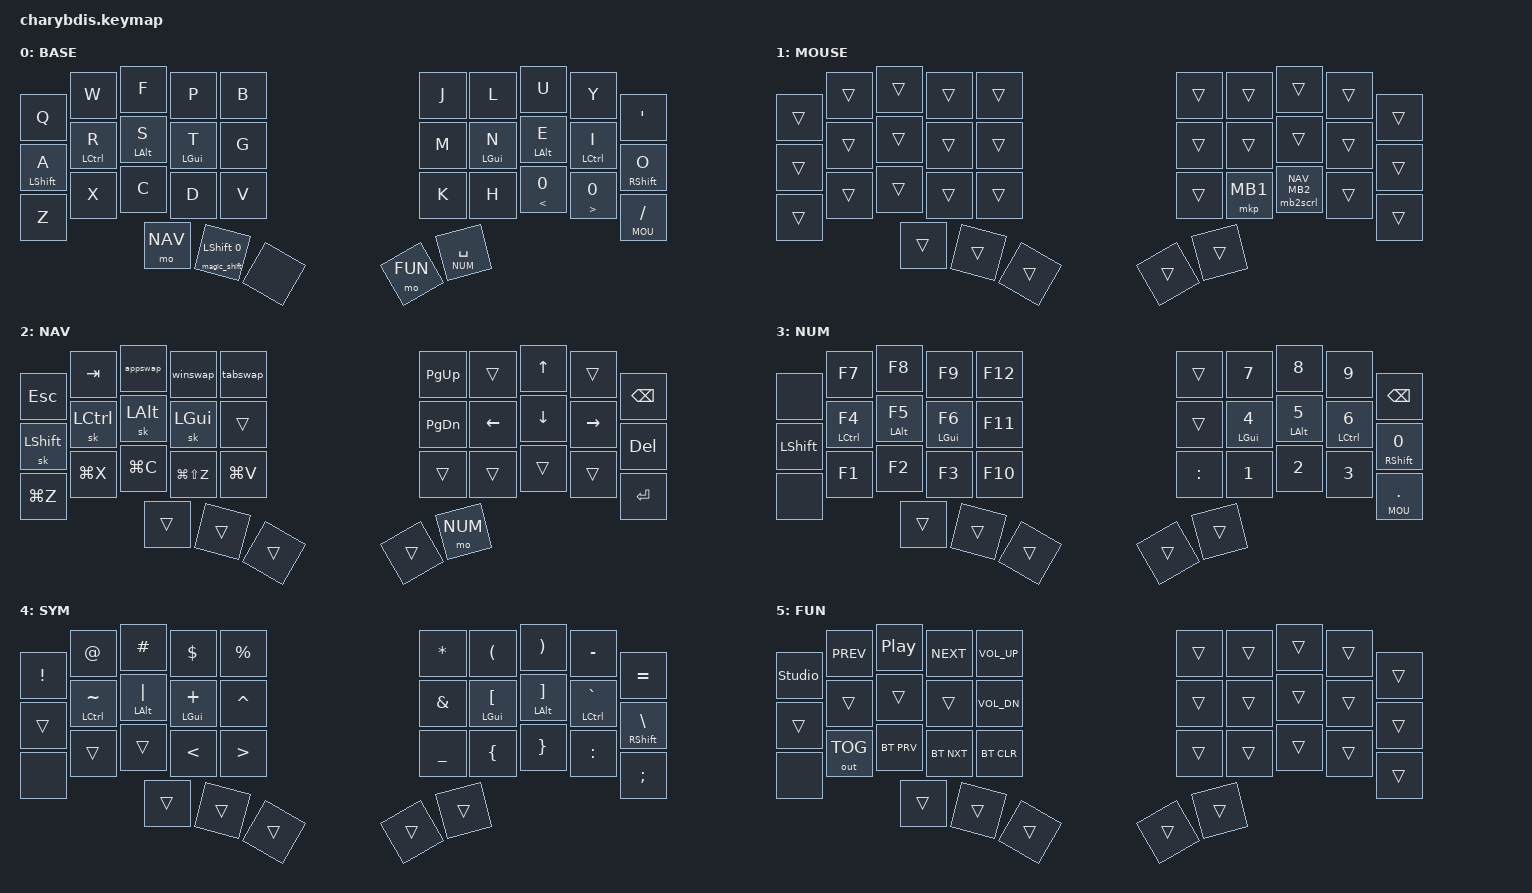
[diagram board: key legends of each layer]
/*                KEY POSITIONS
  ╭─────────────────────╮ ╭─────────────────────╮
  │ LT4 LT3 LT2 LT1 LT0 │ │ RT0 RT1 RT2 RT3 RT4 │
  │ LM4 LM3 LM2 LM1 LM0 │ │ RM0 RM1 RM2 RM3 RM4 │
  │ LB4 LB3 LB2 LB1 LB0 │ │ RB0 RB1 RB2 RB3 RB4 │
  ╰───────╮ LH2 LH1 LH0 │ │ RH0 RH1 ╭───────────╯
          ╰─────────────╯ ╰─────────╯            */
#include <behaviors.dtsi>

#include <dt-bindings/zmk/keys.h>
#include <dt-bindings/zmk/bt.h>
#include <dt-bindings/zmk/mouse.h>
#include <dt-bindings/zmk/outputs.h>
#include <input/processors.dtsi>
#include <dt-bindings/zmk/input_transform.h>

#include "zmk-helpers/helper.h"
#include "zmk-helpers/key-labels/36.h"

// constants
#define undo  &kp LG(Z)
#define redo  &kp LG(LS(Z))
#define cut   &kp LG(X)
#define copy  &kp LG(C)
#define paste &kp LG(V)
#define XXX   &none
#define ___   &trans
#define QUICK_TAP_MS 175

#define BASE 0
#define MOU  1
#define NAV  2
#define NUM  3
#define SYM  4
#define FUN  5

&sk {
    quick-release;
    release-after-ms = <900>;
};

&sl { // Allow sticky mods to chord across sticky layers.
    ignore-modifiers;
};

&lt {
    flavor = "balanced";
    tapping-term-ms = <200>;
    quick-tap-ms = <QUICK_TAP_MS>;
};

/* Homerow mods */

#define KEYS_L LT0 LT1 LT2 LT3 LT4 LM0 LM1 LM2 LM3 LM4 LB0 LB1 LB2 LB3 LB4
#define KEYS_R RT0 RT1 RT2 RT3 RT4 RM0 RM1 RM2 RM3 RM4 RB0     RB2 RB3 RB4
#define THUMBS LH2 LH1 LH0 RH0 RH1

#define MAKE_HRM(NAME, HOLD, TAP, TRIGGER_POS)                                 \
  ZMK_HOLD_TAP(NAME, bindings = <HOLD>, <TAP>; flavor = "balanced";            \
               tapping-term-ms = <280>; quick-tap-ms = <QUICK_TAP_MS>;         \
               require-prior-idle-ms = <150>; hold-trigger-on-release;         \
               hold-trigger-key-positions = <TRIGGER_POS>;)

MAKE_HRM(hml, &kp, &kp, KEYS_R THUMBS) // Left-hand HRMs.
MAKE_HRM(hmr, &kp, &kp, KEYS_L THUMBS) // Right-hand HRMs.

// Hack: Make HRM combos tap-only (cf, ZMK issue #544).
#define ZMK_COMBO_8(NAME, TAP, POS, LAYERS, COMBO_MS, IDLE_MS, HOLD, SIDE)     \
  MAKE_HRM(hm_combo_##NAME, &kp, TAP, SIDE THUMBS)                             \
  ZMK_COMBO_6(NAME, &hm_combo_##NAME HOLD 0, POS, LAYERS, COMBO_MS, IDLE_MS)

/* Nav cluster */

// Trigger tap-action on all interrupts.
#define MT_CORE                                                                \
  flavor = "tap-preferred";                                                    \
  tapping-term-ms = <220>;                                                     \
  quick-tap-ms = <220>;                                                        \
  hold-trigger-key-positions = <0>;

&mt { MT_CORE };

/* Magic-shift & auto-layers */

// Tap: repeat after alpha, else sticky-shift |
// Shift + tap/ double-tap: caps-word | Hold: shift.
#define MAGIC_SHIFT &magic_shift LSHFT 0
ZMK_HOLD_TAP(magic_shift, bindings = <&kp>, <&magic_shift_tap>; flavor = "balanced"; tapping-term-ms = <200>; quick-tap-ms = <QUICK_TAP_MS>;)
ZMK_MOD_MORPH(magic_shift_tap, bindings = <&sk LSHFT>, <&caps_word>; mods = <(MOD_LSFT)>;)
&caps_word { // Mods deactivate caps-word, requires PR #1451. [TODO: rebase]
  /delete-property/ ignore-modifiers;
};

// Trackball
// MB3 when tapping both mouse keys at the same time
ZMK_COMBO(mou_mb3,    &mkp MB3,  RB1 RB2, MOU)
// Mouse scroll when holding MB2
ZMK_HOLD_TAP(mb2scrl, bindings = <&mo>, <&mkp>; flavor = "balanced"; tapping-term-ms = <200>; quick-tap-ms = <QUICK_TAP_MS>;)

/* Custom behaviors */

// Swapper settings for all window contexts
ZMK_TRI_STATE(appswap, bindings = <&kt_on LGUI>, <&kp TAB>, <&kt_off LGUI>; ignored-key-positions = <LT2 RT2 RM1 RM2 RM3>;)
ZMK_TRI_STATE(winswap, bindings = <&kt_on LGUI>, <&kp GRAVE>, <&kt_off LGUI>; ignored-key-positions = <LT1 RT2 RM1 RM2 RM3>;)
ZMK_TRI_STATE(tabswap, bindings = <&kt_on LCTRL>, <&kp TAB>, <&kt_off LCTRL>; ignored-key-positions = <LT0 RT2 RM1 RM2 RM3>;)

// Define mod-morph with a *single* mod trigger for less repetition.
#define SIMPLE_MORPH(NAME, MOD, BINDING1, BINDING2)                            \
  ZMK_MOD_MORPH(NAME, mods = <(MOD_L##MOD | MOD_R##MOD)>;                      \
                bindings = <BINDING1>, <BINDING2>;)

// Tap: space | Hold: num layer.
#define NUM_KEYS LH2 RT1 RT2 RT3 RM1 RM2 RM3 RM4 RB0 RB1 RB2 RB3 RB4
#define LT_SPACE &lt_spc NUM SPACE
ZMK_HOLD_TAP(lt_spc,
        bindings = <&mo>, <&kp>;                                               \
        flavor = "balanced";                                                   \
        tapping-term-ms = <200>;                                               \
        hold-trigger-on-release; hold-trigger-key-positions = <NUM_KEYS>;      \
        quick-tap-ms = <200>;)

// Macro to prevent holding and triggering multiple taps
ZMK_MACRO_ONE_PARAM(tap_macro, bindings = <&macro_param_1to1>, <&macro_tap &kp MACRO_PLACEHOLDER>; wait-ms = <0>; tap-ms = <5>;)

// Tap: Comma | Shift + tap: ; | Hold: <.
#define COMMA_LT &mt_comma LT 0
ZMK_HOLD_TAP(mt_comma, bindings = <&tap_macro>, <&comma_morph>; flavor = "tap-preferred"; tapping-term-ms = <170>; quick-tap-ms = <QUICK_TAP_MS>; require-prior-idle-ms = <150>;)
SIMPLE_MORPH(comma_morph, SFT, &kp COMMA, &kp SEMI)

// Tap: Dot | Shift + tap: : | Hold: >.
#define DOT_GT &mt_dot GT 0
ZMK_HOLD_TAP(mt_dot, bindings = <&tap_macro>, <&dot_morph>; flavor = "tap-preferred"; tapping-term-ms = <170>; quick-tap-ms = <QUICK_TAP_MS>; require-prior-idle-ms = <150>;)
SIMPLE_MORPH(dot_morph, SFT, &kp DOT, &kp COLON)

/* Keymap */

// Enable SYM layer if NAV and NUM are active
ZMK_CONDITIONAL_LAYER(fun_layer, NAV NUM, SYM)

/ {
    trackball_listener {
        compatible = "zmk,input-listener";
        device = <&trackball_split>;

        scroll {
            layers = <NAV>;
            input-processors = <&zip_xy_scaler 1 20>, <&zip_xy_to_scroll_mapper>, <&zip_scroll_transform (INPUT_TRANSFORM_Y_INVERT)>;
        };
    };

    behaviors {
        kt_on: key_toggle_on_only {
            compatible = "zmk,behavior-key-toggle";
            #binding-cells = <1>;
            display-name = "Key Toggle On";
            toggle-mode = "on";
        };
        kt_off: key_toggle_off_only {
            compatible = "zmk,behavior-key-toggle";
            #binding-cells = <1>;
            display-name = "Key Toggle Off";
            toggle-mode = "off";
        };
    };

    keymap {
                compatible = "zmk,keymap";
// ▄▄▄▄▄▄▄▄▄▄▄▄▄▄▄▄▄▄▄▄▄▄▄▄▄▄▄▄▄▄▄▄▄▄▄▄▄▄▄▄▄▄▄▄▄▄▄▄▄▄▄▄▄▄▄▄▄▄▄▄▄▄▄▄▄▄▄▄▄▄▄▄▄▄▄▄▄▄▄▄▄▄▄▄▄▄▄▄▄▄▄▄▄▄▄▄▄▄▄▄▄▄▄▄▄▄▄▄▄▄▄▄▄▄▄▄▄▄▄▄▄▄▄▄▄▄▄▄▄▄▄▄▄▄▄▄▄▄▄▄▄▄▄▄▄▄▄▄▄

            BASE {
    display-name = "BASE";
    // ┏━━━━━━━━━━━━━━━━━━━━━━━━━━━━━━━━━━━━━━━┓
    // ┃          0 - Base                     ┃
    // ┗━━━━━━━━━━━━━━━━━━━━━━━━━━━━━━━━━━━━━━━┛
    //             ┏━━━━━━━━━━━┳━━━━━━━━━━━┳━━━━━━━━━━━┳━━━━━━━━━━━┳━━━━━━━━━━━┓   ┏━━━━━━━━━━━┳━━━━━━━━━━━┳━━━━━━━━━━━┳━━━━━━━━━━━┳━━━━━━━━━━━┓
    //             ┃     Q     ┃     W     ┃     F     ┃     P     ┃     B     ┃   ┃     J     ┃     L     ┃     U     ┃     Y     ┃     '     ┃
    //             ┣━━━━━━━━━━━╋━━━━━━━━━━━╋━━━━━━━━━━━╋━━━━━━━━━━━╋━━━━━━━━━━━┫   ┣━━━━━━━━━━━╋━━━━━━━━━━━╋━━━━━━━━━━━╋━━━━━━━━━━━╋━━━━━━━━━━━┫
    //             ┃     A     ┃     R     ┃     S     ┃     T     ┃     G     ┃   ┃     M     ┃     N     ┃     E     ┃     I     ┃     O     ┃
    //             ┣━━━━━━━━━━━╋━━━━━━━━━━━╋━━━━━━━━━━━╋━━━━━━━━━━━╋━━━━━━━━━━━┫   ┣━━━━━━━━━━━╋━━━━━━━━━━━╋━━━━━━━━━━━╋━━━━━━━━━━━╋━━━━━━━━━━━┫
    //             ┃     Z     ┃     X     ┃     C     ┃     D     ┃     V     ┃   ┃     K     ┃     H     ┃     ,     ┃     .     ┃  / / MOU  ┃
    //             ┗━━━━━━━━━━━┻━━━━━━━━━━━╋━━━━━━━━━━━╋━━━━━━━━━━━╋━━━━━━━━━━━┫   ┣━━━━━━━━━━━╋━━━━━━━━━━━╋━━━━━━━━━━━┻━━━━━━━━━━━┻━━━━━━━━━━━┛
    //                                     ┃    NAV    ┃ MAGISHIFT ┃           ┃   ┃    FUN    ┃ SPACE/NUM ┃
    //                                     ┗━━━━━━━━━━━┻━━━━━━━━━━━┻━━━━━━━━━━━┛   ┗━━━━━━━━━━━┻━━━━━━━━━━━┛
     bindings = <
    // ╷           ╷           ╷           ╷           ╷           ╷           ╷   ╷           ╷           ╷           ╷           ╷           ╷           ╷
                    &kp Q       &kp W       &kp F       &kp P       &kp B           &kp J       &kp L       &kp U       &kp Y       &kp SQT
                    &hml LSHIFT A &hml LCTRL R &hml LALT S &hml LGUI T &kp G        &kp M       &hmr LGUI N &hmr LALT E &hmr LCTRL I &hmr RSHIFT O
                    &kp Z       &kp X       &kp C       &kp D       &kp V           &kp K       &kp H       COMMA_LT    DOT_GT      &lt MOU FSLH
                                            &mo NAV     MAGIC_SHIFT XXX             &mo FUN     LT_SPACE
                            >;
            };

// ▄▄▄▄▄▄▄▄▄▄▄▄▄▄▄▄▄▄▄▄▄▄▄▄▄▄▄▄▄▄▄▄▄▄▄▄▄▄▄▄▄▄▄▄▄▄▄▄▄▄▄▄▄▄▄▄▄▄▄▄▄▄▄▄▄▄▄▄▄▄▄▄▄▄▄▄▄▄▄▄▄▄▄▄▄▄▄▄▄▄▄▄▄▄▄▄▄▄▄▄▄▄▄▄▄▄▄▄▄▄▄▄▄▄▄▄▄▄▄▄▄▄▄▄▄▄▄▄▄▄▄▄▄▄▄▄▄▄▄▄▄▄▄▄▄▄▄▄▄

            MOU {
    display-name = "MOUSE";
    // ┏━━━━━━━━━━━━━━━━━━━━━━━━━━━━━━━━━━━━━━━┓
    // ┃       1 - Mouse                       ┃
    // ┗━━━━━━━━━━━━━━━━━━━━━━━━━━━━━━━━━━━━━━━┛
    //             ┏━━━━━━━━━━━┳━━━━━━━━━━━┳━━━━━━━━━━━┳━━━━━━━━━━━┳━━━━━━━━━━━┓   ┏━━━━━━━━━━━┳━━━━━━━━━━━┳━━━━━━━━━━━┳━━━━━━━━━━━┳━━━━━━━━━━━┓
    //             ┃           ┃           ┃           ┃           ┃           ┃   ┃           ┃           ┃           ┃           ┃           ┃
    //             ┣━━━━━━━━━━━╋━━━━━━━━━━━╋━━━━━━━━━━━╋━━━━━━━━━━━╋━━━━━━━━━━━┫   ┣━━━━━━━━━━━╋━━━━━━━━━━━╋━━━━━━━━━━━╋━━━━━━━━━━━╋━━━━━━━━━━━┫
    //             ┃           ┃           ┃           ┃           ┃           ┃   ┃           ┃           ┃           ┃           ┃           ┃
    //             ┣━━━━━━━━━━━╋━━━━━━━━━━━╋━━━━━━━━━━━╋━━━━━━━━━━━╋━━━━━━━━━━━┫   ┣━━━━━━━━━━━╋━━━━━━━━━━━╋━━━━━━━━━━━╋━━━━━━━━━━━╋━━━━━━━━━━━┫
    //             ┃           ┃           ┃           ┃           ┃           ┃   ┃           ┃    MB1    ┃ MB2/SCROL ┃           ┃ █████████ ┃
    //             ┗━━━━━━━━━━━┻━━━━━━━━━━━╋━━━━━━━━━━━╋━━━━━━━━━━━╋━━━━━━━━━━━┫   ┣━━━━━━━━━━━╋━━━━━━━━━━━╋━━━━━━━━━━━┻━━━━━━━━━━━┻━━━━━━━━━━━┛
    //                                     ┃    NAV    ┃ MAGISHIFT ┃           ┃   ┃    FUN    ┃ SPACE/NUM ┃
    //                                     ┗━━━━━━━━━━━┻━━━━━━━━━━━┻━━━━━━━━━━━┛   ┗━━━━━━━━━━━┻━━━━━━━━━━━┛
     bindings = <
    // ╷           ╷           ╷           ╷           ╷           ╷           ╷   ╷           ╷           ╷           ╷           ╷           ╷           ╷
                    ___         ___         ___         ___         ___             ___         ___         ___         ___         ___
                    ___         ___         ___         ___         ___             ___         ___         ___         ___         ___
                    ___         ___         ___         ___         ___             ___         &mkp MB1    &mb2scrl NAV MB2        ___         ___
                                            ___         ___         ___             ___         ___
                            >;
            };

// ▄▄▄▄▄▄▄▄▄▄▄▄▄▄▄▄▄▄▄▄▄▄▄▄▄▄▄▄▄▄▄▄▄▄▄▄▄▄▄▄▄▄▄▄▄▄▄▄▄▄▄▄▄▄▄▄▄▄▄▄▄▄▄▄▄▄▄▄▄▄▄▄▄▄▄▄▄▄▄▄▄▄▄▄▄▄▄▄▄▄▄▄▄▄▄▄▄▄▄▄▄▄▄▄▄▄▄▄▄▄▄▄▄▄▄▄▄▄▄▄▄▄▄▄▄▄▄▄▄▄▄▄▄▄▄▄▄▄▄▄▄▄▄▄▄▄▄▄▄

            NAV {
    display-name = "NAV";
    // ┏━━━━━━━━━━━━━━━━━━━━━━━━━━━━━━━━━━━━━━━┓
    // ┃         2 - Navigation                ┃
    // ┗━━━━━━━━━━━━━━━━━━━━━━━━━━━━━━━━━━━━━━━┛
    //             ┏━━━━━━━━━━━┳━━━━━━━━━━━┳━━━━━━━━━━━┳━━━━━━━━━━━┳━━━━━━━━━━━┓   ┏━━━━━━━━━━━┳━━━━━━━━━━━┳━━━━━━━━━━━┳━━━━━━━━━━━┳━━━━━━━━━━━┓
    //             ┃    ESC    ┃    TAB    ┃  NXT_APP  ┃  NXT_WIN  ┃  NXT_TAB  ┃   ┃ SCROLL UP ┃   BSPC    ┃    UP     ┃    DEL    ┃           ┃
    //             ┣━━━━━━━━━━━╋━━━━━━━━━━━╋━━━━━━━━━━━╋━━━━━━━━━━━╋━━━━━━━━━━━┫   ┣━━━━━━━━━━━╋━━━━━━━━━━━╋━━━━━━━━━━━╋━━━━━━━━━━━╋━━━━━━━━━━━┫
    //             ┃   SHIFT   ┃   CTRL    ┃    ALT    ┃    GUI    ┃           ┃   ┃ SCROLL DN ┃   LEFT    ┃   DOWN    ┃   RIGHT   ┃           ┃
    //             ┣━━━━━━━━━━━╋━━━━━━━━━━━╋━━━━━━━━━━━╋━━━━━━━━━━━╋━━━━━━━━━━━┫   ┣━━━━━━━━━━━╋━━━━━━━━━━━╋━━━━━━━━━━━╋━━━━━━━━━━━╋━━━━━━━━━━━┫
    //             ┃    UNDO   ┃    CUT    ┃   COPY    ┃   REDO    ┃   PASTE   ┃   ┃           ┃           ┃           ┃           ┃   ENTER   ┃
    //             ┗━━━━━━━━━━━┻━━━━━━━━━━━╋━━━━━━━━━━━╋━━━━━━━━━━━╋━━━━━━━━━━━┫   ┣━━━━━━━━━━━╋━━━━━━━━━━━╋━━━━━━━━━━━┻━━━━━━━━━━━┻━━━━━━━━━━━┛
    //                                     ┃ █████████ ┃ MAGISHIFT ┃           ┃   ┃    FUN    ┃    NUM    ┃
    //                                     ┗━━━━━━━━━━━┻━━━━━━━━━━━┻━━━━━━━━━━━┛   ┗━━━━━━━━━━━┻━━━━━━━━━━━┛
     bindings = <
    // ╷           ╷           ╷           ╷           ╷           ╷           ╷   ╷           ╷           ╷           ╷           ╷           ╷           ╷
                    &kp ESC     &kp TAB     &appswap    &winswap    &tabswap        &kp PG_UP   ___         &kp UP      ___         &kp BSPC
                    &sk LSHIFT  &sk LCTRL   &sk LALT    &sk LGUI    ___             &kp PG_DN   &kp LEFT    &kp DOWN    &kp RIGHT   &kp DEL
                    undo        cut         copy        redo        paste           ___         ___         ___         ___         &kp ENTER
                                            ___         ___         ___             ___         &mo NUM
                            >;
            };

// ▄▄▄▄▄▄▄▄▄▄▄▄▄▄▄▄▄▄▄▄▄▄▄▄▄▄▄▄▄▄▄▄▄▄▄▄▄▄▄▄▄▄▄▄▄▄▄▄▄▄▄▄▄▄▄▄▄▄▄▄▄▄▄▄▄▄▄▄▄▄▄▄▄▄▄▄▄▄▄▄▄▄▄▄▄▄▄▄▄▄▄▄▄▄▄▄▄▄▄▄▄▄▄▄▄▄▄▄▄▄▄▄▄▄▄▄▄▄▄▄▄▄▄▄▄▄▄▄▄▄▄▄▄▄▄▄▄▄▄▄▄▄▄▄▄▄▄▄▄

            NUM {
    display-name = "NUM";
    // ┏━━━━━━━━━━━━━━━━━━━━━━━━━━━━━━━━━━━━━━━┓
    // ┃           4 - Numbers                 ┃
    // ┗━━━━━━━━━━━━━━━━━━━━━━━━━━━━━━━━━━━━━━━┛
    //             ┏━━━━━━━━━━━┳━━━━━━━━━━━┳━━━━━━━━━━━┳━━━━━━━━━━━┳━━━━━━━━━━━┓   ┏━━━━━━━━━━━┳━━━━━━━━━━━┳━━━━━━━━━━━┳━━━━━━━━━━━┳━━━━━━━━━━━┓
    //             ┃           ┃    F7     ┃    F8     ┃    F9     ┃    F12    ┃   ┃           ┃     7     ┃     8     ┃     9     ┃   BSPC    ┃
    //             ┣━━━━━━━━━━━╋━━━━━━━━━━━╋━━━━━━━━━━━╋━━━━━━━━━━━╋━━━━━━━━━━━┫   ┣━━━━━━━━━━━╋━━━━━━━━━━━╋━━━━━━━━━━━╋━━━━━━━━━━━╋━━━━━━━━━━━┫
    //             ┃           ┃    F4     ┃    F5     ┃    F6     ┃    F11    ┃   ┃           ┃     4     ┃     5     ┃     6     ┃     0     ┃
    //             ┣━━━━━━━━━━━╋━━━━━━━━━━━╋━━━━━━━━━━━╋━━━━━━━━━━━╋━━━━━━━━━━━┫   ┣━━━━━━━━━━━╋━━━━━━━━━━━╋━━━━━━━━━━━╋━━━━━━━━━━━╋━━━━━━━━━━━┫
    //             ┃           ┃    F1     ┃    F2     ┃    F3     ┃    F10    ┃   ┃     :     ┃     1     ┃     2     ┃     3     ┃     .     ┃
    //             ┗━━━━━━━━━━━┻━━━━━━━━━━━╋━━━━━━━━━━━╋━━━━━━━━━━━╋━━━━━━━━━━━┫   ┣━━━━━━━━━━━╋━━━━━━━━━━━╋━━━━━━━━━━━┻━━━━━━━━━━━┻━━━━━━━━━━━┛
    //                                     ┃    NAV    ┃ MAGISHIFT ┃           ┃   ┃    FUN    ┃ █████████ ┃
    //                                     ┗━━━━━━━━━━━┻━━━━━━━━━━━┻━━━━━━━━━━━┛   ┗━━━━━━━━━━━┻━━━━━━━━━━━┛
     bindings = <
    // ╷           ╷           ╷           ╷           ╷           ╷           ╷   ╷           ╷           ╷           ╷           ╷           ╷           ╷
                    XXX         &kp F7      &kp F8      &kp F9      &kp F12         ___         &kp N7      &kp N8      &kp N9      &kp BSPC
                    &kp LSHIFT  &hml LCTRL F4 &hml LALT F5 &hml LGUI F6 &kp F11     ___         &hmr LGUI N4 &hmr LALT N5 &hmr LCTRL N6 &hmr RSHIFT N0
                    XXX         &kp F1      &kp F2      &kp F3      &kp F10         &kp COLON   &kp N1      &kp N2      &kp N3      &lt MOU DOT
                                            ___         ___         ___             ___         ___
                            >;
            };

// ▄▄▄▄▄▄▄▄▄▄▄▄▄▄▄▄▄▄▄▄▄▄▄▄▄▄▄▄▄▄▄▄▄▄▄▄▄▄▄▄▄▄▄▄▄▄▄▄▄▄▄▄▄▄▄▄▄▄▄▄▄▄▄▄▄▄▄▄▄▄▄▄▄▄▄▄▄▄▄▄▄▄▄▄▄▄▄▄▄▄▄▄▄▄▄▄▄▄▄▄▄▄▄▄▄▄▄▄▄▄▄▄▄▄▄▄▄▄▄▄▄▄▄▄▄▄▄▄▄▄▄▄▄▄▄▄▄▄▄▄▄▄▄▄▄▄▄▄▄

            SYM {
    display-name = "SYM";
    // ┏━━━━━━━━━━━━━━━━━━━━━━━━━━━━━━━━━━━━━━━┓
    // ┃           3 - Symbols                 ┃
    // ┗━━━━━━━━━━━━━━━━━━━━━━━━━━━━━━━━━━━━━━━┛
    //             ┏━━━━━━━━━━━┳━━━━━━━━━━━┳━━━━━━━━━━━┳━━━━━━━━━━━┳━━━━━━━━━━━┓   ┏━━━━━━━━━━━┳━━━━━━━━━━━┳━━━━━━━━━━━┳━━━━━━━━━━━┳━━━━━━━━━━━┓
    //             ┃     !     ┃     @     ┃     #     ┃     $     ┃     %     ┃   ┃     *     ┃     (     ┃     )     ┃     -     ┃     =     ┃
    //             ┣━━━━━━━━━━━╋━━━━━━━━━━━╋━━━━━━━━━━━╋━━━━━━━━━━━╋━━━━━━━━━━━┫   ┣━━━━━━━━━━━╋━━━━━━━━━━━╋━━━━━━━━━━━╋━━━━━━━━━━━╋━━━━━━━━━━━┫
    //             ┃           ┃     ~     ┃     |     ┃     +     ┃     ^     ┃   ┃     &     ┃     [     ┃     ]     ┃     `     ┃     \     ┃
    //             ┣━━━━━━━━━━━╋━━━━━━━━━━━╋━━━━━━━━━━━╋━━━━━━━━━━━╋━━━━━━━━━━━┫   ┣━━━━━━━━━━━╋━━━━━━━━━━━╋━━━━━━━━━━━╋━━━━━━━━━━━╋━━━━━━━━━━━┫
    // ┃    ESC    ┃           ┃           ┃           ┃     <     ┃     >     ┃   ┃     _     ┃     {     ┃     }     ┃     :     ┃     ;     ┃
    //             ┗━━━━━━━━━━━┻━━━━━━━━━━━╋━━━━━━━━━━━╋━━━━━━━━━━━╋━━━━━━━━━━━┫   ┣━━━━━━━━━━━╋━━━━━━━━━━━╋━━━━━━━━━━━╋━━━━━━━━━━━┻━━━━━━━━━━━┛
    //                                     ┃ █████████ ┃ MAGISHIFT ┃           ┃   ┃    FUN    ┃ █████████ ┃
    //                                     ┗━━━━━━━━━━━┻━━━━━━━━━━━┻━━━━━━━━━━━┛   ┗━━━━━━━━━━━┻━━━━━━━━━━━┛
     bindings = <
    // ╷           ╷           ╷           ╷           ╷           ╷           ╷   ╷           ╷           ╷           ╷           ╷           ╷           ╷

                    &kp EXCL    &kp AT      &kp HASH    &kp DLLR    &kp PRCNT       &kp ASTRK   &kp LPAR    &kp RPAR   &kp MINUS    &kp EQUAL
                    ___ &hml LCTRL TILDE  &hml LALT PIPE  &hml LGUI PLUS &kp CARET  &kp AMPS    &hmr LGUI LBKT &hmr LALT RBKT &hmr LCTRL GRAVE &hmr RSHIFT BSLH
                    XXX         ___         ___         &kp LT      &kp GT          &kp UNDER   &kp LBRC    &kp RBRC   &kp COLON    &kp SEMI
                                            ___         ___         ___             ___         ___
                            >;

            };

// ▄▄▄▄▄▄▄▄▄▄▄▄▄▄▄▄▄▄▄▄▄▄▄▄▄▄▄▄▄▄▄▄▄▄▄▄▄▄▄▄▄▄▄▄▄▄▄▄▄▄▄▄▄▄▄▄▄▄▄▄▄▄▄▄▄▄▄▄▄▄▄▄▄▄▄▄▄▄▄▄▄▄▄▄▄▄▄▄▄▄▄▄▄▄▄▄▄▄▄▄▄▄▄▄▄▄▄▄▄▄▄▄▄▄▄▄▄▄▄▄▄▄▄▄▄▄▄▄▄▄▄▄▄▄▄▄▄▄▄▄▄▄▄▄▄▄▄▄▄

            FUN {
    display-name = "FUN";
    // ┏━━━━━━━━━━━━━━━━━━━━━━━━━━━━━━━━━━━━━━━┓
    // ┃          5 - Function                 ┃
    // ┗━━━━━━━━━━━━━━━━━━━━━━━━━━━━━━━━━━━━━━━┛
    //             ┏━━━━━━━━━━━┳━━━━━━━━━━━┳━━━━━━━━━━━┳━━━━━━━━━━━┳━━━━━━━━━━━┓   ┏━━━━━━━━━━━┳━━━━━━━━━━━┳━━━━━━━━━━━┳━━━━━━━━━━━┳━━━━━━━━━━━┓
    //             ┃  UNLOCK   ┃   PREV    ┃   PLAY    ┃   NEXT    ┃  VOL_UP   ┃   ┃           ┃           ┃           ┃           ┃           ┃
    //             ┣━━━━━━━━━━━╋━━━━━━━━━━━╋━━━━━━━━━━━╋━━━━━━━━━━━╋━━━━━━━━━━━┫   ┣━━━━━━━━━━━╋━━━━━━━━━━━╋━━━━━━━━━━━╋━━━━━━━━━━━╋━━━━━━━━━━━┫
    //             ┃    GUI    ┃    ALT    ┃   SHIFT   ┃    CTRL   ┃  VOL_DN   ┃   ┃           ┃           ┃           ┃           ┃           ┃
    //             ┣━━━━━━━━━━━╋━━━━━━━━━━━╋━━━━━━━━━━━╋━━━━━━━━━━━╋━━━━━━━━━━━┫   ┣━━━━━━━━━━━╋━━━━━━━━━━━╋━━━━━━━━━━━╋━━━━━━━━━━━╋━━━━━━━━━━━┫
    //             ┃           ┃ USB | BLE ┃  BT PRV   ┃  BT NXT   ┃  BT CLR   ┃   ┃           ┃           ┃           ┃           ┃           ┃
    //             ┗━━━━━━━━━━━┻━━━━━━━━━━━╋━━━━━━━━━━━╋━━━━━━━━━━━╋━━━━━━━━━━━┫   ┣━━━━━━━━━━━╋━━━━━━━━━━━╋━━━━━━━━━━━┻━━━━━━━━━━━┻━━━━━━━━━━━┛
    //                                     ┃    NAV    ┃ MAGISHIFT ┃           ┃   ┃ █████████ ┃           ┃
    //                                     ┗━━━━━━━━━━━┻━━━━━━━━━━━┻━━━━━━━━━━━┛   ┗━━━━━━━━━━━┻━━━━━━━━━━━┛
     bindings = <
    // ╷           ╷           ╷           ╷           ╷           ╷           ╷   ╷           ╷           ╷           ╷           ╷           ╷           ╷
                 &studio_unlock &kp C_PREV  &kp C_PP    &kp C_NEXT  &kp C_VOL_UP    ___         ___         ___         ___         ___
                    ___         ___         ___         ___         &kp C_VOL_DN    ___         ___         ___         ___         ___
                    XXX         &out OUT_TOG &bt BT_PRV	&bt BT_NXT  &bt BT_CLR      ___         ___         ___         ___         ___
                                            ___         ___         ___             ___         ___
                            >;
            };

    };
};
